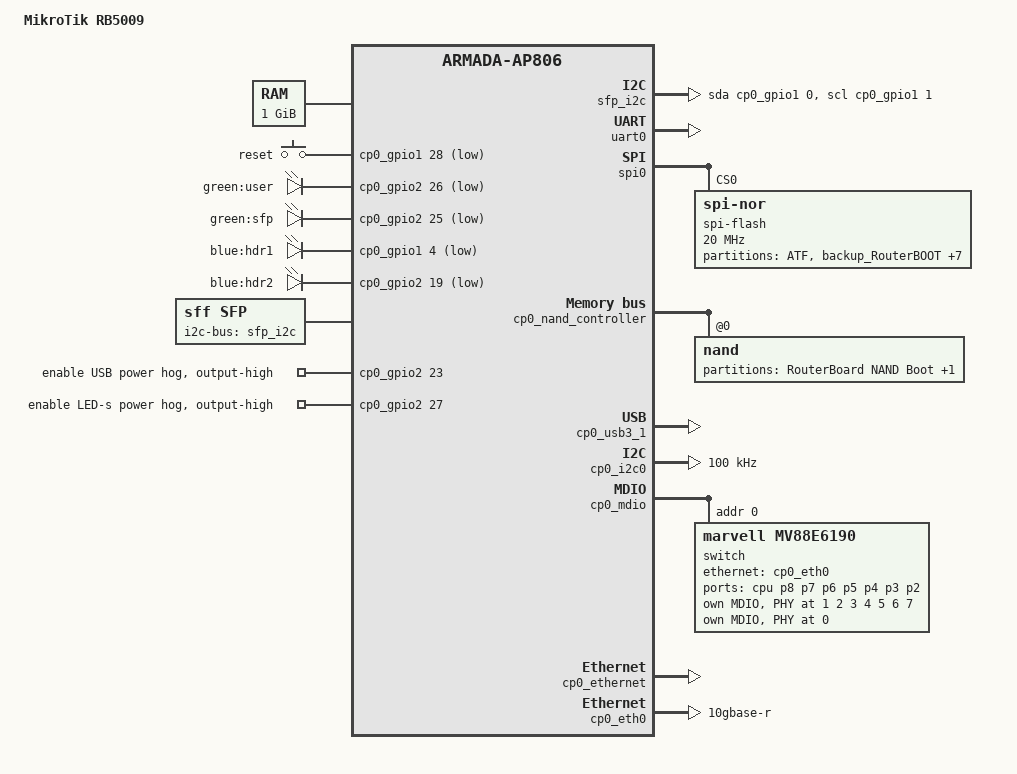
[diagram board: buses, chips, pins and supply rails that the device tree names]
// SPDX-License-Identifier: GPL-2.0-or-later OR MIT

/dts-v1/;

#include "armada-7040.dtsi"
#include <dt-bindings/gpio/gpio.h>
#include <dt-bindings/input/input.h>

/ {
	model = "MikroTik RB5009";
	compatible = "mikrotik,rb5009", "marvell,armada7040",
		     "marvell,armada-ap806-quad", "marvell,armada-ap806";

	chosen {
		stdout-path = "serial0:115200n8";
	};

	memory@0 {
		device_type = "memory";
		reg = <0x0 0x0 0x0 0x40000000>;
	};

	aliases {
		led-boot = &led_user;
		led-failsafe = &led_user;
		led-running = &led_user;
		led-upgrade = &led_user;
	};

	sfp_i2c: sfp-i2c {
		compatible = "i2c-gpio";
		sda-gpios = <&cp0_gpio1 0 (GPIO_ACTIVE_HIGH|GPIO_OPEN_DRAIN)>;
		scl-gpios = <&cp0_gpio1 1 (GPIO_ACTIVE_HIGH|GPIO_OPEN_DRAIN)>;
	};

	keys {
		compatible = "gpio-keys";

		reset {
			label = "reset";
			gpios = <&cp0_gpio1 28 GPIO_ACTIVE_LOW>;
			linux,code = <KEY_RESTART>;
		};
	};

	leds {
		compatible = "gpio-leds";

		led_user: user {
			label = "green:user";
			gpios = <&cp0_gpio2 26 GPIO_ACTIVE_LOW>;
		};

		sfp {
			label = "green:sfp";
			gpios = <&cp0_gpio2 25 GPIO_ACTIVE_LOW>;
		};

		hdr1 {
			label = "blue:hdr1";
			gpios = <&cp0_gpio1 4 GPIO_ACTIVE_LOW>;
		};

		hdr2 {
			label = "blue:hdr2";
			gpios = <&cp0_gpio2 19 GPIO_ACTIVE_LOW>;
		};
	};

	sfp: sfp {
		compatible = "sff,sfp";
		i2c-bus = <&sfp_i2c>;
	};
};

&uart0 {
	status = "okay";

	pinctrl-0 = <&uart0_pins>;
	pinctrl-names = "default";
};


&spi0 {
	status = "okay";

	spi-flash@0 {
		#address-cells = <1>;
		#size-cells = <1>;
		compatible = "jedec,spi-nor";
		reg = <0>;
		spi-max-frequency = <20000000>;

		partitions {
			compatible = "fixed-partitions";
			#address-cells = <1>;
			#size-cells = <1>;

			partition@0 {
				label = "ATF";
				reg = <0x0 0x95c04>;
				read-only;
			};
			partition@1 {
				label = "backup_RouterBOOT";
				reg = <0x95c04 0x193FC>;
				read-only;
			};
			hard_config: partition@2 {
				label = "hard_config";
				reg = <0xaf000 0x1000>;
				read-only;
			};
			partition@3 {
				label = "RouterBOOT";
				reg = <0xb0000 0x10000>;
			};
			partition@4 {
				label = "soft_config";
				reg = <0xc0000 0x10000>;
			};
			partition@5 {
				label = "DTS";
				reg = <0xd0000 0x10000>;
				read-only;
			};
			partition@6 {
				label = "free_space";
				reg = <0xe0000 0x20000>;
			};
			partition@7 {
				compatible = "denx,fit";
				label = "firmware";
				reg = <0x100000 0xf00000>;
			};
			partition@8 {
				label = "first_1M";
				reg = <0x0 0x100000>;
			};
		};
	};
};

&cp0_nand_controller {
	status = "okay";

	nand@0 {
		reg = <0>;
		nand-rb = <0>;
		nand-ecc-mode = "hw";
		nand-ecc-strength = <4>;
		nand-ecc-step-size = <512>;
		nand-on-flash-bbt;

		partitions {
			compatible = "fixed-partitions";
			#address-cells = <1>;
			#size-cells = <1>;

			partition@0 {
				label = "RouterBoard NAND Boot";
				reg = <0x0 0x800000>;
			};

			partition@800000 {
				label = "RouterBoard NAND Main";
				reg = <0x800000 0x3f800000>;
			};
		};
	};
};

&cp0_gpio2 {
	enable-usb-power {
		gpio-hog;
		gpios = <23 GPIO_ACTIVE_HIGH>;
		output-high;
		line-name = "enable USB power";
	};

	enable-leds-power {
		gpio-hog;
		gpios = <27 GPIO_ACTIVE_HIGH>;
		output-high;
		line-name = "enable LED-s power";
	};
};

&cp0_usb3_1 {
	status = "okay";
};

&cp0_i2c0 {
	status = "okay";
	clock-frequency = <100000>;
};

&cp0_mdio {
	status = "okay";
};

&cp0_ethernet {
	status = "okay";
};

&cp0_eth0 {
	/* This port is connected to 88E6393X switch */
	status = "okay";
	phy-mode = "10gbase-r";
	managed = "in-band-status";
	nvmem-cells = <&macaddr_hard>;
	nvmem-cell-names = "mac-address";
	mac-address-increment = <0>;
};

&cp0_mdio {
	status = "okay";

	switch@0 {
		/* Actual device is MV88E6393X */
		compatible = "marvell,mv88e6190";
		#address-cells = <1>;
		#size-cells = <0>;
		reg = <0>;
		//strict-cpu-mode = <1>;
		//reset-gpios = <&cp0_gpio2 2 GPIO_ACTIVE_HIGH>;

		ports {
			#address-cells = <1>;
			#size-cells = <0>;

			port@0 {
				reg = <0>;
				label = "cpu";
				ethernet = <&cp0_eth0>;
			};

			port@1 {
				reg = <1>;
				label = "p8";
				phy-handle = <&switch0phy1>;
				nvmem-cells = <&macaddr_hard>;
				nvmem-cell-names = "mac-address";
				mac-address-increment = <7>;
			};

			port@2 {
				reg = <2>;
				label = "p7";
				phy-handle = <&switch0phy2>;
				nvmem-cells = <&macaddr_hard>;
				nvmem-cell-names = "mac-address";
				mac-address-increment = <6>;
			};

			port@3 {
				reg = <3>;
				label = "p6";
				phy-handle = <&switch0phy3>;
				nvmem-cells = <&macaddr_hard>;
				nvmem-cell-names = "mac-address";
				mac-address-increment = <5>;
			};

			port@4 {
				reg = <4>;
				label = "p5";
				phy-handle = <&switch0phy4>;
				nvmem-cells = <&macaddr_hard>;
				nvmem-cell-names = "mac-address";
				mac-address-increment = <4>;
			};

			port@5 {
				reg = <5>;
				label = "p4";
				phy-handle = <&switch0phy5>;
				nvmem-cells = <&macaddr_hard>;
				nvmem-cell-names = "mac-address";
				mac-address-increment = <3>;
			};

			port@6 {
				reg = <6>;
				label = "p3";
				phy-handle = <&switch0phy6>;
				nvmem-cells = <&macaddr_hard>;
				nvmem-cell-names = "mac-address";
				mac-address-increment = <2>;
			};

			port@7 {
				reg = <7>;
				label = "p2";
				phy-handle = <&switch0phy7>;
				nvmem-cells = <&macaddr_hard>;
				nvmem-cell-names = "mac-address";
				mac-address-increment = <1>;
			};

			port@9 {
				reg = <9>;
				label = "p1";
				phy-mode = "sgmii";
				phy-handle = <&switch0phy9>;
				managed = "in-band-status";
				nvmem-cells = <&macaddr_hard>;
				nvmem-cell-names = "mac-address";
				mac-address-increment = <0>;
			};

			port@a {
				reg = <10>;
				label = "sfp";
				phy-mode = "10gbase-r";
				managed = "in-band-status";
				sfp = <&sfp>;
				nvmem-cells = <&macaddr_hard>;
				nvmem-cell-names = "mac-address";
				mac-address-increment = <8>;
			};
		};

		mdio {
			#address-cells = <1>;
			#size-cells = <0>;

			switch0phy1: switch0phy1@1 {
				reg = <0x1>;
			};

			switch0phy2: switch0phy2@2 {
				reg = <0x2>;
			};

			switch0phy3: switch0phy3@3 {
				reg = <0x3>;
			};

			switch0phy4: switch0phy4@4 {
				reg = <0x4>;
			};

			switch0phy5: switch0phy5@5 {
				reg = <0x5>;
			};

			switch0phy6: switch0phy6@6 {
				reg = <0x6>;
			};

			switch0phy7: switch0phy7@7 {
				reg = <0x7>;
			};
		};

		mdio1 {
			compatible = "marvell,mv88e6xxx-mdio-external";
			#address-cells = <1>;
			#size-cells = <0>;

			switch0phy9: switch0phy9@0 {
				reg = <0>;
			};
		};
	};
};

&hard_config {
	compatible = "nvmem-cells";
	#address-cells = <1>;
	#size-cells = <1>;

	macaddr_hard: macaddr@10 {
		reg = <0x10 0x6>;
	};
};
